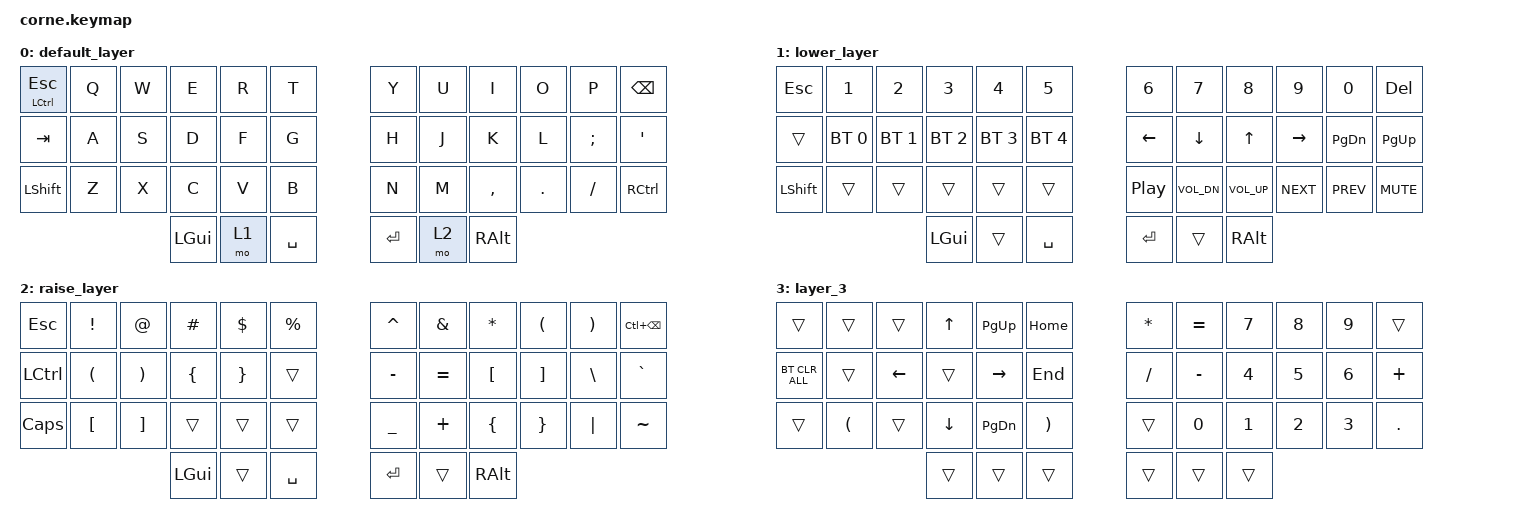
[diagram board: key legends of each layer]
/*
 * Copyright (c) 2020 The ZMK Contributors
 *
 * SPDX-License-Identifier: MIT
 */

#include <behaviors.dtsi>
#include <dt-bindings/zmk/bt.h>
#include <dt-bindings/zmk/keys.h>

/ {
    combos {
        compatible = "zmk,combos";

        layer3 {
            bindings = <&tog 3>;
            key-positions = <37 40>;
        };
    };

    keymap {
        compatible = "zmk,keymap";

        default_layer {
            // -----------------------------------------------------------------------------------------
            // |  TAB |  Q  |  W  |  E  |  R  |  T  |   |  Y  |  U   |  I  |  O  |  P  | BKSP |
            // | CTRL |  A  |  S  |  D  |  F  |  G  |   |  H  |  J   |  K  |  L  |  ;  |  '   |
            // | SHFT |  Z  |  X  |  C  |  V  |  B  |   |  N  |  M   |  ,  |  .  |  /  | ESC  |
            //                    | GUI | LWR | SPC |   | ENT | RSE  | ALT |

            bindings = <
&mt LEFT_CONTROL ESCAPE  &kp Q  &kp W  &kp E     &kp R  &kp T        &kp Y    &kp U  &kp I      &kp O    &kp P          &kp BSPC
&kp TAB                  &kp A  &kp S  &kp D     &kp F  &kp G        &kp H    &kp J  &kp K      &kp L    &kp SEMICOLON  &kp SQT
&kp LSHFT                &kp Z  &kp X  &kp C     &kp V  &kp B        &kp N    &kp M  &kp COMMA  &kp DOT  &kp FSLH       &kp RIGHT_CONTROL
                                       &kp LGUI  &mo 1  &kp SPACE    &kp RET  &mo 2  &kp RALT
            >;
        };

        lower_layer {
            // -----------------------------------------------------------------------------------------
            // |  TAB |  1  |  2  |  3  |  4  |  5  |   |  6  |  7  |  8  |  9  |  0  | BKSP |
            // | BTCLR| BT1 | BT2 | BT3 | BT4 | BT5 |   | LFT | DWN |  UP | RGT |     |      |
            // | SHFT |     |     |     |     |     |   |     |     |     |     |     |      |
            //                    | GUI |     | SPC |   | ENT |     | ALT |

            bindings = <
&kp ESCAPE  &kp N1        &kp N2        &kp N3        &kp N4        &kp N5          &kp N6            &kp N7        &kp N8        &kp N9      &kp N0         &kp DEL
&trans      &bt BT_SEL 0  &bt BT_SEL 1  &bt BT_SEL 2  &bt BT_SEL 3  &bt BT_SEL 4    &kp LEFT          &kp DOWN      &kp UP        &kp RIGHT   &kp PAGE_DOWN  &kp PG_UP
&kp LSHFT   &trans        &trans        &trans        &trans        &trans          &kp C_PLAY_PAUSE  &kp C_VOL_DN  &kp C_VOL_UP  &kp C_NEXT  &kp C_PREV     &kp K_MUTE
                                        &kp LGUI      &trans        &kp SPACE       &kp RET           &trans        &kp RALT
            >;
        };

        raise_layer {
            // -----------------------------------------------------------------------------------------
            // |  TAB |  !  |  @  |  #  |  $  |  %  |   |  ^  |  &  |  *  |  (  |  )  | BKSP |
            // | CTRL |     |     |     |     |     |   |  -  |  =  |  [  |  ]  |  \  |  `   |
            // | SHFT |     |     |     |     |     |   |  _  |  +  |  {  |  }  | "|" |  ~   |
            //                    | GUI |     | SPC |   | ENT |     | ALT |

            bindings = <
&kp ESCAPE    &kp EXCL              &kp AT                 &kp HASH        &kp DLLR         &kp PRCNT    &kp CARET  &kp AMPS   &kp ASTRK  &kp LPAR  &kp RPAR  &kp LC(BACKSPACE)
&kp LCTRL     &kp LEFT_PARENTHESIS  &kp RIGHT_PARENTHESIS  &kp LEFT_BRACE  &kp RIGHT_BRACE  &trans       &kp MINUS  &kp EQUAL  &kp LBKT   &kp RBKT  &kp BSLH  &kp GRAVE
&kp CAPSLOCK  &kp LEFT_BRACKET      &kp RIGHT_BRACKET      &trans          &trans           &trans       &kp UNDER  &kp PLUS   &kp LBRC   &kp RBRC  &kp PIPE  &kp TILDE
                                                           &kp LGUI        &trans           &kp SPACE    &kp RET    &trans     &kp RALT
            >;
        };

        layer_3 {
            bindings = <
&trans          &trans                &trans          &kp UP_ARROW  &kp PAGE_UP    &kp HOME                 &kp ASTERISK  &kp EQUAL  &kp N7        &kp N8        &kp N9        &trans
&bt BT_CLR_ALL  &trans                &kp LEFT_ARROW  &trans        &kp RIGHT      &kp END                  &kp SLASH     &kp MINUS  &kp NUMBER_4  &kp N5        &kp NUMBER_6  &kp PLUS
&trans          &kp LEFT_PARENTHESIS  &trans          &kp DOWN      &kp PAGE_DOWN  &kp RIGHT_PARENTHESIS    &trans        &kp N0     &kp NUMBER_1  &kp NUMBER_2  &kp NUMBER_3  &kp PERIOD
                                                      &trans        &trans         &trans                   &trans        &trans     &trans
            >;
        };
    };
};
